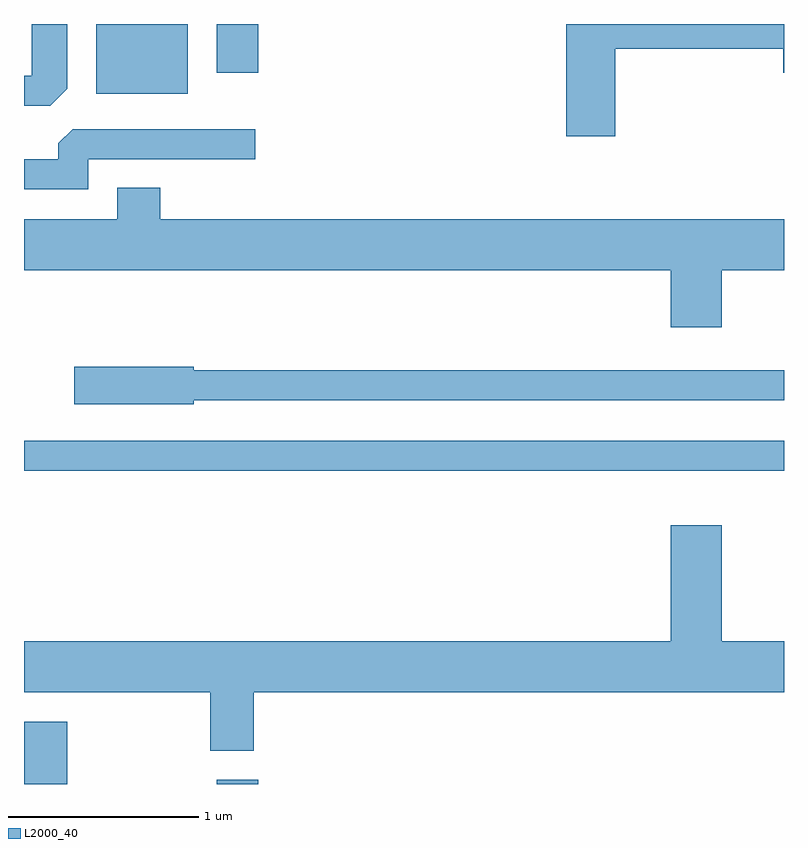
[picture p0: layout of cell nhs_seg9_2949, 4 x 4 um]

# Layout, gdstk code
import gdstk
lib = gdstk.Library(unit=1e-6, precision=1e-09)
def R(c, l, rs):  # rectangles x0, y0, x1, y1
    for r in rs: c.add(gdstk.rectangle(r[:2], r[2:], *l))
def P(c, l, *ps):  # polygons
    for p in ps: c.add(gdstk.Polygon(p, *l))
L2000_40 = (2000, 40)

nhs_seg9_2949 = lib.new_cell('nhs_seg9_2949')
R(nhs_seg9_2949, L2000_40, [(271.611,2002.432,271.839,2002.759), (272.626,2002.432,272.844,2002.454), (271.611,2004.081,275.611,2004.239), (271.991,2006.066,272.474,2006.432), (272.626,2006.176,272.844,2006.432)])
P(nhs_seg9_2949, L2000_40, [(274.724,2006.301),(275.606,2006.301),(275.606,2006.176),(275.611,2006.176),(275.611,2006.432),(274.466,2006.432),(274.466,2005.841),(274.724,2005.841)],
  [(271.76,2006.013),(271.839,2006.092),(271.839,2006.432),(271.651,2006.432),(271.651,2006.159),(271.611,2006.159),(271.611,2006.001),(271.749,2006.001)],
  [(271.949,2005.721),(272.828,2005.721),(272.828,2005.879),(271.867,2005.879),(271.791,2005.804),(271.791,2005.719),(271.611,2005.719),(271.611,2005.561),(271.949,2005.561)],
  [(275.284,2005.136),(275.611,2005.136),(275.611,2005.404),(272.329,2005.404),(272.329,2005.569),(272.101,2005.569),(272.101,2005.404),(271.611,2005.404),(271.611,2005.136),(275.016,2005.136),(275.016,2004.836),(275.284,2004.836)],
  [(272.504,2004.451),(275.611,2004.451),(275.611,2004.609),(272.504,2004.609),(272.504,2004.629),(271.876,2004.629),(271.876,2004.431),(272.504,2004.431)],
  [(271.611,2002.916),(272.591,2002.916),(272.591,2002.606),(272.819,2002.606),(272.819,2002.916),(275.611,2002.916),(275.611,2003.184),(275.284,2003.184),(275.284,2003.794),(275.016,2003.794),(275.016,2003.184),(271.611,2003.184)])

lib.write_gds('nhs_seg9_2949.gds')
